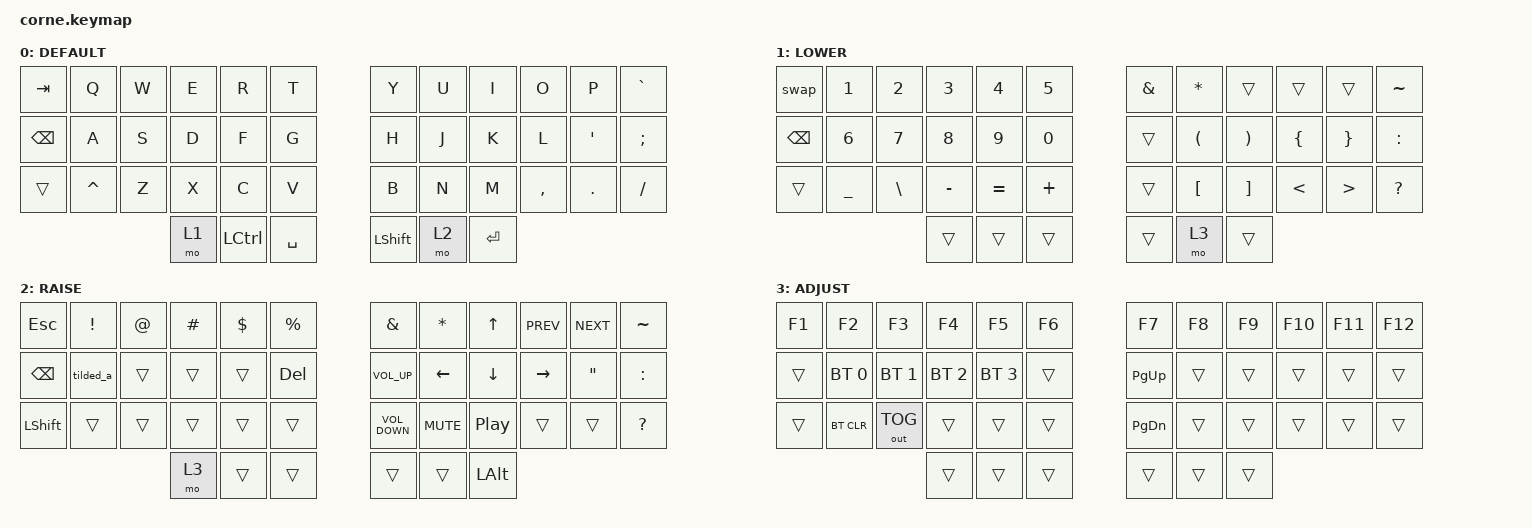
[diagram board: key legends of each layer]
#include <behaviors.dtsi>
#include <dt-bindings/zmk/bt.h>
#include <dt-bindings/zmk/keys.h>
#include <dt-bindings/zmk/outputs.h>

/ {
    combos {
        compatible = "zmk,combos";

        COMBO_ALT {
            bindings = <&kp LEFT_ALT>;
            key-positions = <37 36>;
            layers = <0>;
        };

        COMBO_SUPER {
            bindings = <&kp LEFT_GUI>;
            key-positions = <12 24>;
        };

        COMBO_ESC {
            bindings = <&kp ESCAPE>;
            key-positions = <0 12>;
        };

        COMBO_UNDERSCORE {
            bindings = <&kp UNDERSCORE>;
            key-positions = <16 4>;
        };

        COMBO_MINUS {
            bindings = <&kp MINUS>;
            key-positions = <16 15>;
        };

        COMBO_PLUS {
            bindings = <&kp TILDE>;
            key-positions = <7 19>;
        };

        COMBO_EQUALS {
            bindings = <&kp EQUAL>;
            key-positions = <19 20>;
        };

        COMBO_EXCLAMATION {
            bindings = <&kp EXCLAMATION>;
            key-positions = <13 25>;
        };

        COMBO_AT {
            bindings = <&kp AT_SIGN>;
            key-positions = <14 26>;
        };

        COMBO_HASHTAG {
            bindings = <&kp HASH>;
            key-positions = <15 27>;
        };

        COMBO_DOLLARSIGN {
            bindings = <&kp DOLLAR>;
            key-positions = <16 28>;
        };

        COMBO_PERCENT {
            bindings = <&kp PERCENT>;
            key-positions = <17 29>;
        };

        COMBO_COPY {
            bindings = <&kp LC(C)>;
            key-positions = <27 28>;
        };

        COMBO_CUT {
            bindings = <&kp LC(X)>;
            key-positions = <26 27>;
        };

        COMBO_PASTE {
            bindings = <&kp LC(V)>;
            key-positions = <26 28>;
        };

        COMBO_PRINTSCREEN {
            bindings = <&kp PRINTSCREEN>;
            key-positions = <26 27 28>;
        };
    };

    behaviors {
        swap: swapper {
            compatible = "zmk,behavior-tri-state";
            label = "Swapper (Alt+Tab)";
            #binding-cells = <0>;
            bindings = <&kt LALT>, <&kp TAB>, <&kt LALT>;

            ignored-key-positions = <24 37>;
        };
    };

    macros {
        tilded_a: MACRO_A_TILDE {
            compatible = "zmk,behavior-macro";
            label = "Types A with tilde";
            #binding-cells = <0>;
            bindings = <&kp TILDE &kp A>;
        };

        tilded_o: tilded_o {
            compatible = "zmk,behavior-macro";
            #binding-cells = <0>;
            bindings = <&kp TILDE &kp O>;
            label = "TILDED_O";
        };
    };

    keymap {
        compatible = "zmk,keymap";

        DEFAULT {
            bindings = <
&kp TAB        &kp Q      &kp W  &kp E  &kp R      &kp T        &kp Y           &kp U  &kp I      &kp O      &kp P           &kp GRAVE
&kp BACKSPACE  &kp A      &kp S  &kp D  &kp F      &kp G        &kp H           &kp J  &kp K      &kp L      &kp APOSTROPHE  &kp SEMICOLON
&trans         &kp CARET  &kp Z  &kp X  &kp C      &kp V        &kp B           &kp N  &kp M      &kp COMMA  &kp DOT         &kp SLASH
                                 &mo 1  &kp LCTRL  &kp SPACE    &kp LEFT_SHIFT  &mo 2  &kp ENTER
            >;
        };

        LOWER {
            bindings = <
&swap          &kp N1          &kp N2         &kp N3     &kp N4     &kp N5      &kp AMPERSAND  &kp ASTERISK          &trans                 &trans          &trans            &kp TILDE
&kp BACKSPACE  &kp N6          &kp N7         &kp N8     &kp N9     &kp N0      &trans         &kp LEFT_PARENTHESIS  &kp RIGHT_PARENTHESIS  &kp LEFT_BRACE  &kp RIGHT_BRACE   &kp COLON
&trans         &kp UNDERSCORE  &kp BACKSLASH  &kp MINUS  &kp EQUAL  &kp PLUS    &trans         &kp LBKT              &kp RBKT               &kp LESS_THAN   &kp GREATER_THAN  &kp QUESTION
                                              &trans     &trans     &trans      &trans         &mo 3                 &trans
            >;
        };

        RAISE {
            bindings = <
&kp ESCAPE      &kp EXCLAMATION  &kp AT_SIGN  &kp HASH  &kp DOLLAR  &kp PERCENT    &kp AMPERSAND      &kp ASTERISK  &kp UP_ARROW      &kp C_PREV  &kp C_NEXT         &kp TILDE
&kp BACKSPACE   &tilded_a        &trans       &trans    &trans      &kp DELETE     &kp C_VOLUME_UP    &kp LEFT      &kp DOWN          &kp RIGHT   &kp DOUBLE_QUOTES  &kp COLON
&kp LEFT_SHIFT  &trans           &trans       &trans    &trans      &trans         &kp C_VOLUME_DOWN  &kp C_MUTE    &kp C_PLAY_PAUSE  &trans      &trans             &kp QUESTION
                                              &mo 3     &trans      &trans         &trans             &trans        &kp LEFT_ALT
            >;
        };

        ADJUST {
            bindings = <
&kp F1  &kp F2        &kp F3        &kp F4        &kp F5        &kp F6    &kp F7     &kp F8  &kp F9  &kp F10  &kp F11  &kp F12
&trans  &bt BT_SEL 0  &bt BT_SEL 1  &bt BT_SEL 2  &bt BT_SEL 3  &trans    &kp PG_UP  &trans  &trans  &trans   &trans   &trans
&trans  &bt BT_CLR    &out OUT_TOG  &trans        &trans        &trans    &kp PG_DN  &trans  &trans  &trans   &trans   &trans
                                    &trans        &trans        &trans    &trans     &trans  &trans
            >;
        };
    };
};
